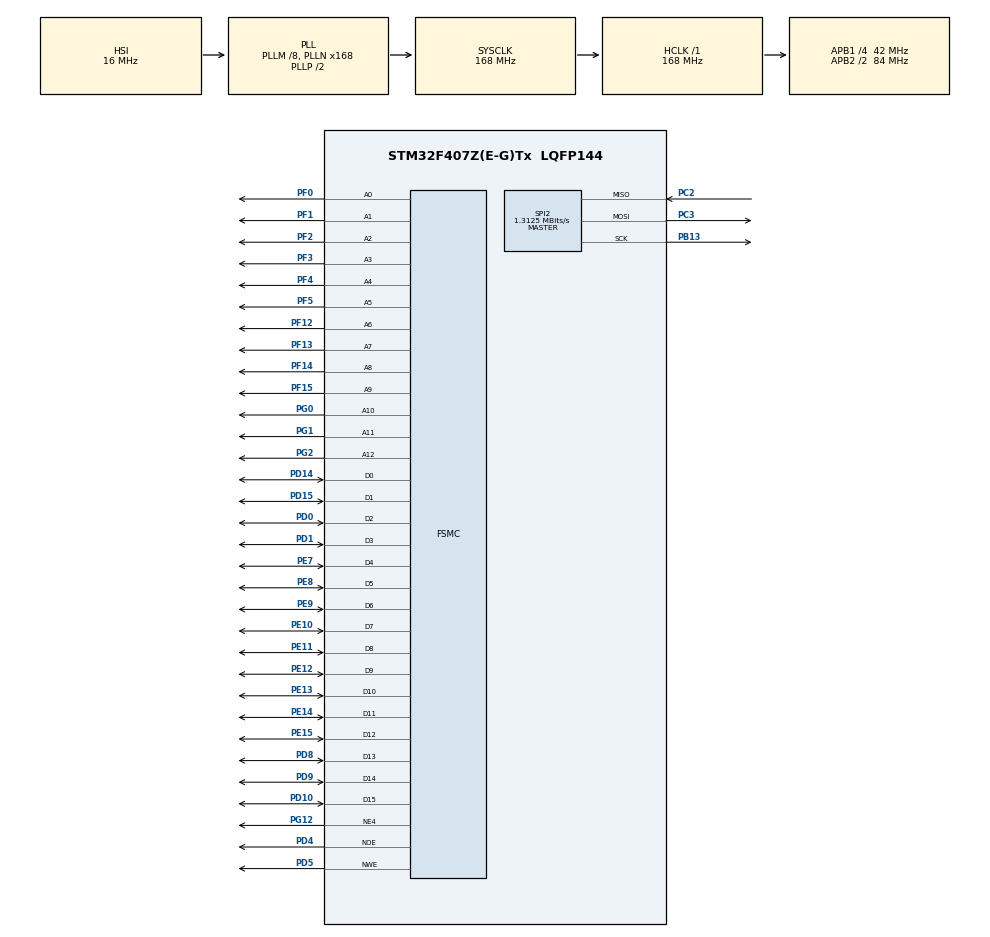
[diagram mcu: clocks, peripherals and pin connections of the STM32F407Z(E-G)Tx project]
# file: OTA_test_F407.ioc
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Mcu.Family=STM32F4
Mcu.Name=STM32F407Z(E-G)Tx
Mcu.Package=LQFP144
NVIC.PriorityGroup=NVIC_PRIORITYGROUP_4
NVIC.TIM8_TRG_COM_TIM14_IRQn=true\:15\:0\:false\:false\:true\:false\:true\:true
NVIC.TimeBase=TIM8_TRG_COM_TIM14_IRQn
NVIC.TimeBaseIP=TIM14
PA13.Mode=Serial_Wire
PA13.Signal=SYS_JTMS-SWDIO
PA14.Mode=Serial_Wire
PA14.Signal=SYS_JTCK-SWCLK
PB13.Mode=Full_Duplex_Master
PB13.Signal=SPI2_SCK
PC2.Mode=Full_Duplex_Master
PC2.Signal=SPI2_MISO
PC3.Mode=Full_Duplex_Master
PC3.Signal=SPI2_MOSI
PD0.Signal=FSMC_D2_DA2
PD1.Signal=FSMC_D3_DA3
PD10.Signal=FSMC_D15_DA15
PD14.Signal=FSMC_D0_DA0
PD15.Signal=FSMC_D1_DA1
PD4.Signal=FSMC_NOE
PD5.Signal=FSMC_NWE
PD8.Signal=FSMC_D13_DA13
PD9.Signal=FSMC_D14_DA14
PE10.Signal=FSMC_D7_DA7
PE11.Signal=FSMC_D8_DA8
PE12.Signal=FSMC_D9_DA9
PE13.Signal=FSMC_D10_DA10
PE14.Signal=FSMC_D11_DA11
PE15.Signal=FSMC_D12_DA12
PE7.Signal=FSMC_D4_DA4
PE8.Signal=FSMC_D5_DA5
PE9.Signal=FSMC_D6_DA6
PF0.Signal=FSMC_A0
PF1.Signal=FSMC_A1
PF12.Signal=FSMC_A6
PF13.Signal=FSMC_A7
PF14.Signal=FSMC_A8
PF15.Signal=FSMC_A9
PF2.Signal=FSMC_A2
PF3.Signal=FSMC_A3
PF4.Signal=FSMC_A4
PF5.Signal=FSMC_A5
PG0.Signal=FSMC_A10
PG1.Signal=FSMC_A11
PG12.Mode=NorPsramChipSelect4_4
PG12.Signal=FSMC_NE4
PG2.Signal=FSMC_A12
ProjectManager.HeapSize=0x200
ProjectManager.StackSize=0x400
ProjectManager.TargetToolchain=MDK-ARM V5.32
RCC.48MHZClocksFreq_Value=84000000
RCC.AHBFreq_Value=168000000
RCC.APB1CLKDivider=RCC_HCLK_DIV4
RCC.APB1Freq_Value=42000000
RCC.APB1TimFreq_Value=84000000
RCC.APB2CLKDivider=RCC_HCLK_DIV2
RCC.APB2Freq_Value=84000000
RCC.APB2TimFreq_Value=168000000
RCC.CortexFreq_Value=168000000
RCC.HCLKFreq_Value=168000000
RCC.HSE_VALUE=25000000
RCC.HSI_VALUE=16000000
RCC.LSE_VALUE=32768
RCC.PLLM=8
RCC.PLLN=168
RCC.SYSCLKFreq_VALUE=168000000
RCC.SYSCLKSource=RCC_SYSCLKSOURCE_PLLCLK
RCC.VCOOutputFreq_Value=336000000
SH.FSMC_A0.0=FSMC_A0,13b-a4
SH.FSMC_A1.0=FSMC_A1,13b-a4
SH.FSMC_A10.0=FSMC_A10,13b-a4
SH.FSMC_A11.0=FSMC_A11,13b-a4
SH.FSMC_A12.0=FSMC_A12,13b-a4
SH.FSMC_A2.0=FSMC_A2,13b-a4
SH.FSMC_A3.0=FSMC_A3,13b-a4
SH.FSMC_A4.0=FSMC_A4,13b-a4
SH.FSMC_A5.0=FSMC_A5,13b-a4
SH.FSMC_A6.0=FSMC_A6,13b-a4
SH.FSMC_A7.0=FSMC_A7,13b-a4
SH.FSMC_A8.0=FSMC_A8,13b-a4
SH.FSMC_A9.0=FSMC_A9,13b-a4
SH.FSMC_D0_DA0.0=FSMC_D0,16b-d4
SH.FSMC_D10_DA10.0=FSMC_D10,16b-d4
SH.FSMC_D11_DA11.0=FSMC_D11,16b-d4
SH.FSMC_D12_DA12.0=FSMC_D12,16b-d4
SH.FSMC_D13_DA13.0=FSMC_D13,16b-d4
SH.FSMC_D14_DA14.0=FSMC_D14,16b-d4
SH.FSMC_D15_DA15.0=FSMC_D15,16b-d4
SH.FSMC_D1_DA1.0=FSMC_D1,16b-d4
SH.FSMC_D2_DA2.0=FSMC_D2,16b-d4
SH.FSMC_D3_DA3.0=FSMC_D3,16b-d4
SH.FSMC_D4_DA4.0=FSMC_D4,16b-d4
SH.FSMC_D5_DA5.0=FSMC_D5,16b-d4
SH.FSMC_D6_DA6.0=FSMC_D6,16b-d4
SH.FSMC_D7_DA7.0=FSMC_D7,16b-d4
SH.FSMC_D8_DA8.0=FSMC_D8,16b-d4
SH.FSMC_D9_DA9.0=FSMC_D9,16b-d4
SH.FSMC_NOE.0=FSMC_NOE,Sram4
SH.FSMC_NWE.0=FSMC_NWE,Sram4
SPI2.BaudRatePrescaler=SPI_BAUDRATEPRESCALER_32
SPI2.CalculateBaudRate=1.3125 MBits/s
SPI2.Direction=SPI_DIRECTION_2LINES
SPI2.Mode=SPI_MODE_MASTER
SPI2.VirtualType=VM_MASTER
VP_SYS_VS_tim14.Mode=TIM14
board=custom

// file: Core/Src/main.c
/* USER CODE BEGIN Header */
/**
  ******************************************************************************
  * @file           : main.c
  * @brief          : Main program body
  ******************************************************************************
  * @attention
  *
  * Copyright (c) 2026 STMicroelectronics.
  * All rights reserved.
  *
  * This software is licensed under terms that can be found in the LICENSE file
  * in the root directory of this software component.
  * If no LICENSE file comes with this software, it is provided AS-IS.
  *
  ******************************************************************************
  */
/* USER CODE END Header */
#include "main.h"
#include "spi.h"
#include "gpio.h"
#include "fsmc.h"

/* USER CODE BEGIN Includes */
#include "FreeRTOS.h"
#include "task.h"
#include "queue.h"
#include "LCD.h"
#include "app_ota.h"   /* app 侧的 OTA 触发口（轮询 SPI，看到 PC 的字节就复位回 boot） */
/* USER CODE END Includes */

void SystemClock_Config(void);

/* USER CODE BEGIN 0 */

QueueHandle_t queue_n;

#define APP_HEALTH_ADDR   0x08020018u   /* 与 boot 的 flags.h FLAG_HEALTH_ADDR 一致 */
#define APP_HEALTH_MAGIC  0xA5A5A5A5u

static void App_MarkHealthy(void)
{
    /* boot 跳转前已把整个 S5 扇区擦过，这里直接编程一个字即可，无需擦除 */
    HAL_FLASH_Unlock();
    (void)HAL_FLASH_Program(FLASH_TYPEPROGRAM_WORD, APP_HEALTH_ADDR, (uint64_t)APP_HEALTH_MAGIC);
    HAL_FLASH_Lock();
}

/* 跑满 2s 才算"确认健康"：写太早会把"起得来但跑一会就崩"的坏候选误认成好的 */
static void vHealthTask(void *arg)
{
    (void)arg;
    vTaskDelay(2000);
    App_MarkHealthy();
    vTaskDelete(NULL);
}

uint8_t Digit_Num(uint32_t Num)
{
	uint8_t n = 0;
	if(Num == 0)
	{return 1;}
	while(Num != 0)
	{
		Num = Num / 10;
		n++;
	}
	return n;

}

void vLCDTask1(void *pvParameters)
{
	uint32_t n = 0;
	BaseType_t ret;

	while(1)
	{
		ret = xQueueReceive(queue_n, &n, portMAX_DELAY);
		LCD_DisplayString(10 + Digit_Num(n)*12, 40, 24, "S");
		if(ret == pdTRUE)
		{

			LCD_DisplayNum(10, 40, n, Digit_Num(n), 24, 1);
		}
	}
}

void vLCDTask2(void *pvParameters)
{

	while(1)
	{

		LCD_DisplayString_color(10, 10, 24, "APP1.1 running.  ", 60000, 65535);
		vTaskDelay(700);
		LCD_DisplayString_color(10, 10, 24, "APP1.1 running.. ", 60000, 65535);
		vTaskDelay(700);
		LCD_DisplayString_color(10, 10, 24, "APP1.1 running...", 60000, 65535);
		vTaskDelay(700);
	}
}

void vNumTask(void *pvParameters)
{
	uint32_t n = 0;
	BaseType_t ret;
	while(1)
	{
		ret = xQueueSend(queue_n, &n, portMAX_DELAY);
		vTaskDelay(1000);
		n++;

	}
}

/* USER CODE END 0 */

int main(void)
{

  /* MCU Configuration--------------------------------------------------------*/

  /* Reset of all peripherals, Initializes the Flash interface and the Systick. */
  HAL_Init();

  /* Configure the system clock */
  SystemClock_Config();

  /* USER CODE BEGIN SysInit */

  delay_init();   /* enable the DWT cycle counter used by delay_us/delay_ms */

  /* USER CODE END SysInit */

  /* Initialize all configured peripherals */
  MX_GPIO_Init();
  MX_FSMC_Init();
  MX_SPI2_Init();
  /* USER CODE BEGIN 2 */
  LCD_Init();
  AppOta_Init();   /* 配好片选 PB12（CubeMX 里没这个脚），清事务缓冲。必须在 MX_SPI2_Init 之后 */
  /* USER CODE END 2 */

  /* Infinite loop */
  /* USER CODE BEGIN WHILE */

	queue_n = xQueueCreate(3, sizeof(uint32_t));
	if(queue_n != NULL)
	{
		xTaskCreate(vHealthTask, "Health", 128, NULL, 4, NULL);
		xTaskCreate(vLCDTask1, "LCD1", 128, NULL, 1, NULL);
		xTaskCreate(vLCDTask2, "LCD2", 128, NULL, 2, NULL);
	    xTaskCreate(vNumTask, "Num", 128, NULL, 3, NULL);
		/* OTA 触发任务：优先级最低（1），每 100ms 跑一笔 SPI 事务，约占 1.6% CPU。
		 * ★ 它走的是**静态分配**（不占 FreeRTOS 堆），栈也给到别的任务的两倍 ——
		 *   两条理由都写在 app_ota.c 里，这里不重复。一句话：本工程的堆只有 4KB，
		 *   而堆不够时 xTaskCreate 只是**静默返回失败**（任务从来不存在，
		 *   表现是"SPI 完全没反应"）。 */
		AppOta_CreateTask();

		vTaskStartScheduler();
	}

  while (1)
  {
    /* USER CODE END WHILE */

  }
}

void SystemClock_Config(void)
{
  RCC_OscInitTypeDef RCC_OscInitStruct = {0};
  RCC_ClkInitTypeDef RCC_ClkInitStruct = {0};

  /** Configure the main internal regulator output voltage
  */
  __HAL_RCC_PWR_CLK_ENABLE();
  __HAL_PWR_VOLTAGESCALING_CONFIG(PWR_REGULATOR_VOLTAGE_SCALE1);

  /** Initializes the RCC Oscillators according to the specified parameters
  * in the RCC_OscInitTypeDef structure.
  */
  RCC_OscInitStruct.OscillatorType = RCC_OSCILLATORTYPE_HSI;
  RCC_OscInitStruct.HSIState = RCC_HSI_ON;
  RCC_OscInitStruct.HSICalibrationValue = RCC_HSICALIBRATION_DEFAULT;
  RCC_OscInitStruct.PLL.PLLState = RCC_PLL_ON;
  RCC_OscInitStruct.PLL.PLLSource = RCC_PLLSOURCE_HSI;
  RCC_OscInitStruct.PLL.PLLM = 8;
  RCC_OscInitStruct.PLL.PLLN = 168;
  RCC_OscInitStruct.PLL.PLLP = RCC_PLLP_DIV2;
  RCC_OscInitStruct.PLL.PLLQ = 4;
  if (HAL_RCC_OscConfig(&RCC_OscInitStruct) != HAL_OK)
  {
    Error_Handler();
  }

  /** Initializes the CPU, AHB and APB buses clocks
  */
  RCC_ClkInitStruct.ClockType = RCC_CLOCKTYPE_HCLK|RCC_CLOCKTYPE_SYSCLK
                              |RCC_CLOCKTYPE_PCLK1|RCC_CLOCKTYPE_PCLK2;
  RCC_ClkInitStruct.SYSCLKSource = RCC_SYSCLKSOURCE_PLLCLK;
  RCC_ClkInitStruct.AHBCLKDivider = RCC_SYSCLK_DIV1;
  RCC_ClkInitStruct.APB1CLKDivider = RCC_HCLK_DIV4;
  RCC_ClkInitStruct.APB2CLKDivider = RCC_HCLK_DIV2;

  if (HAL_RCC_ClockConfig(&RCC_ClkInitStruct, FLASH_LATENCY_5) != HAL_OK)
  {
    Error_Handler();
  }
}

void HAL_TIM_PeriodElapsedCallback(TIM_HandleTypeDef *htim)
{
  if (htim->Instance == TIM14)
  {
    HAL_IncTick();
  }
}

void Error_Handler(void)
{
  __disable_irq();
  while (1)
  {
  }
}
